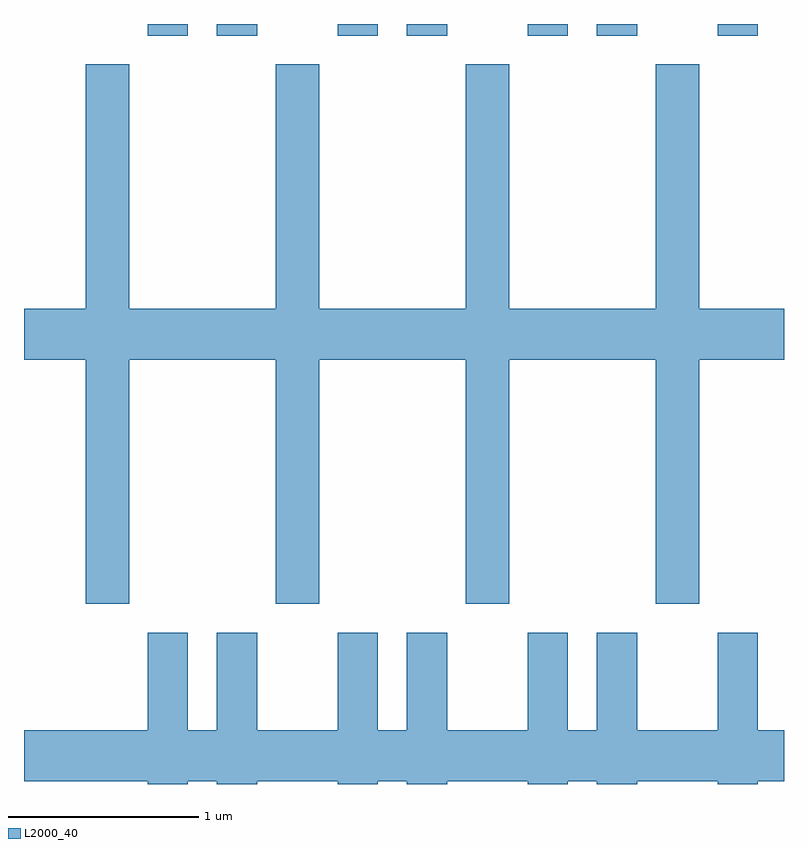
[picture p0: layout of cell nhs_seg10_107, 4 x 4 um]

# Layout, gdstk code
import gdstk
lib = gdstk.Library(unit=1e-6, precision=1e-09)
def R(c, l, rs):  # rectangles x0, y0, x1, y1
    for r in rs: c.add(gdstk.rectangle(r[:2], r[2:], *l))
def P(c, l, *ps):  # polygons
    for p in ps: c.add(gdstk.Polygon(p, *l))
L2000_40 = (2000, 40)

nhs_seg10_107 = lib.new_cell('nhs_seg10_107')
R(nhs_seg10_107, L2000_40, [(188.261,2164.461,188.474,2164.522), (188.626,2164.461,188.839,2164.522), (189.261,2164.461,189.474,2164.522), (189.626,2164.461,189.839,2164.522), (190.261,2164.461,190.474,2164.522), (190.626,2164.461,190.839,2164.522), (191.261,2164.461,191.474,2164.522)])
P(nhs_seg10_107, L2000_40, [(188.164,2162.756),(188.936,2162.756),(188.936,2161.471),(189.164,2161.471),(189.164,2162.756),(189.936,2162.756),(189.936,2161.471),(190.164,2161.471),(190.164,2162.756),(190.936,2162.756),(190.936,2161.471),(191.164,2161.471),(191.164,2162.756),(191.611,2162.756),(191.611,2163.024),(191.164,2163.024),(191.164,2164.309),(190.936,2164.309),(190.936,2163.024),(190.164,2163.024),(190.164,2164.309),(189.936,2164.309),(189.936,2163.024),(189.164,2163.024),(189.164,2164.309),(188.936,2164.309),(188.936,2163.024),(188.164,2163.024),(188.164,2164.309),(187.936,2164.309),(187.936,2163.024),(187.611,2163.024),(187.611,2162.756),(187.936,2162.756),(187.936,2161.471),(188.164,2161.471)],
  [(188.474,2160.536),(188.626,2160.536),(188.626,2160.522),(188.839,2160.522),(188.839,2160.536),(189.261,2160.536),(189.261,2160.522),(189.474,2160.522),(189.474,2160.536),(189.626,2160.536),(189.626,2160.522),(189.839,2160.522),(189.839,2160.536),(190.261,2160.536),(190.261,2160.522),(190.474,2160.522),(190.474,2160.536),(190.626,2160.536),(190.626,2160.522),(190.839,2160.522),(190.839,2160.536),(191.261,2160.536),(191.261,2160.522),(191.474,2160.522),(191.474,2160.536),(191.611,2160.536),(191.611,2160.804),(191.474,2160.804),(191.474,2161.319),(191.261,2161.319),(191.261,2160.804),(190.839,2160.804),(190.839,2161.319),(190.626,2161.319),(190.626,2160.804),(190.474,2160.804),(190.474,2161.319),(190.261,2161.319),(190.261,2160.804),(189.839,2160.804),(189.839,2161.319),(189.626,2161.319),(189.626,2160.804),(189.474,2160.804),(189.474,2161.319),(189.261,2161.319),(189.261,2160.804),(188.839,2160.804),(188.839,2161.319),(188.626,2161.319),(188.626,2160.804),(188.474,2160.804),(188.474,2161.319),(188.261,2161.319),(188.261,2160.804),(187.611,2160.804),(187.611,2160.536),(188.261,2160.536),(188.261,2160.522),(188.474,2160.522)])

lib.write_gds('nhs_seg10_107.gds')
